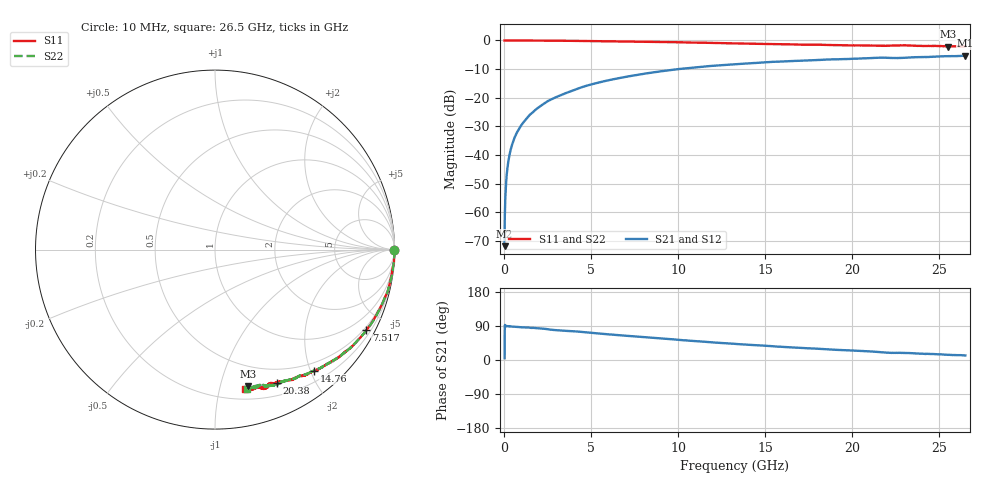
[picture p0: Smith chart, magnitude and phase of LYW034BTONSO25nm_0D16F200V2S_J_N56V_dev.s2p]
!Keysight Technologies,N5222B,MY61253708,A.15.00.15
!Date: Wednesday, June 19, 2024 09:10:50
!Correction: S11(C  2-Port  )
!S21(C  2-Port  )
!S12(C  2-Port  )
!S22(C  2-Port  )
!S2P File: Measurements: S11, S21, S12, S22:
# Hz S  RI  R 50
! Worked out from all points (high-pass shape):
!   2651 points, 10 MHz to 26.5 GHz, reference 50 ohm
!   highest |S21| = -5.33 dB at 26.5 GHz (marker M1); lowest = -71.8 dB at 10 MHz (marker M2)
!   |S21| within 3 dB of the highest: 13.17 GHz to end of sweep
!   lowest |S11| = -2.1 dB at 25.5 GHz (marker M3), VSWR 8.27, Z = 15.4 - j61.1 ohm
!   |S11| at or under -10 dB: nowhere
!   |S22| runs from -2.1 to 0.0 dB; largest |S21 - S12| = 0.0072
!   S11 on the Smith chart (normalised r, x): 10 MHz: open; 7.517 GHz: 0.39, -3.96; 14.76 GHz: 0.36, -2.05; 20.38 GHz: 0.33, -1.52; 26.5 GHz: 0.28, -1.20
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1e7  0.9986 -0.0024  0.000255 2.08e-05  0.000236 0.000369  0.9987 -0.00117
7.997358e7  0.9999 -0.00586  2.03e-05 0.00276  3.18e-05 0.00273  0.9993 -0.00541
1.499472e8  0.9999 -0.0113  3.75e-05 0.00517  4.5e-05 0.00521  0.9994 -0.0106
1.899321e8  1 -0.0133  9.57e-05 0.00655  0.000117 0.0066  0.9997 -0.0125
2.499094e8  0.9994 -0.0178  0.000178 0.00862  0.000162 0.00867  0.9992 -0.017
3.498717e8  0.9994 -0.0247  0.000278 0.0121  0.000331 0.0121  0.9992 -0.0238
4.798226e8  0.9986 -0.0338  0.000547 0.0165  0.000551 0.0166  0.9985 -0.0326
8.196943e8  0.9977 -0.0567  0.00159 0.028  0.00157 0.0282  0.9975 -0.0557
1.449457e9  0.9898 -0.1006  0.00392 0.0497  0.00397 0.05  0.9922 -0.0972
2.329125e9  0.9802 -0.1561  0.0109 0.0805  0.0111 0.081  0.9814 -0.1569
3.148815e9  0.9682 -0.2099  0.0222 0.1057  0.0224 0.1065  0.9692 -0.2092
4.428332e9  0.9381 -0.2879  0.0415 0.1461  0.0419 0.147  0.9396 -0.2855
5.827804e9  0.8985 -0.3649  0.0727 0.1832  0.0738 0.1841  0.9 -0.3651
7.517166e9  0.8424 -0.45  0.1151 0.2184  0.1165 0.2195  0.8421 -0.4512
8.846664e9  0.7908 -0.5102  0.1535 0.2405  0.155 0.2412  0.7917 -0.5093
1.3255e10  0.61 -0.6464  0.2835 0.2604  0.2858 0.2602  0.6127 -0.6454
1.476443e10  0.5514 -0.6764  0.3222 0.2548  0.3244 0.2544  0.5532 -0.6727
1.767333e10  0.4354 -0.7204  0.3889 0.228  0.3924 0.2265  0.4452 -0.7182
2.038231e10  0.3456 -0.7445  0.4417 0.1989  0.4442 0.1958  0.3606 -0.7457
2.209166e10  0.3014 -0.7484  0.469 0.1631  0.4709 0.1604  0.2945 -0.7544
2.550038e10  0.1833 -0.7625  0.516 0.1245  0.5176 0.125  0.2032 -0.7658
2.65e10  0.1654 -0.7774  0.5292 0.1138  0.5285 0.1104  0.1773 -0.776
